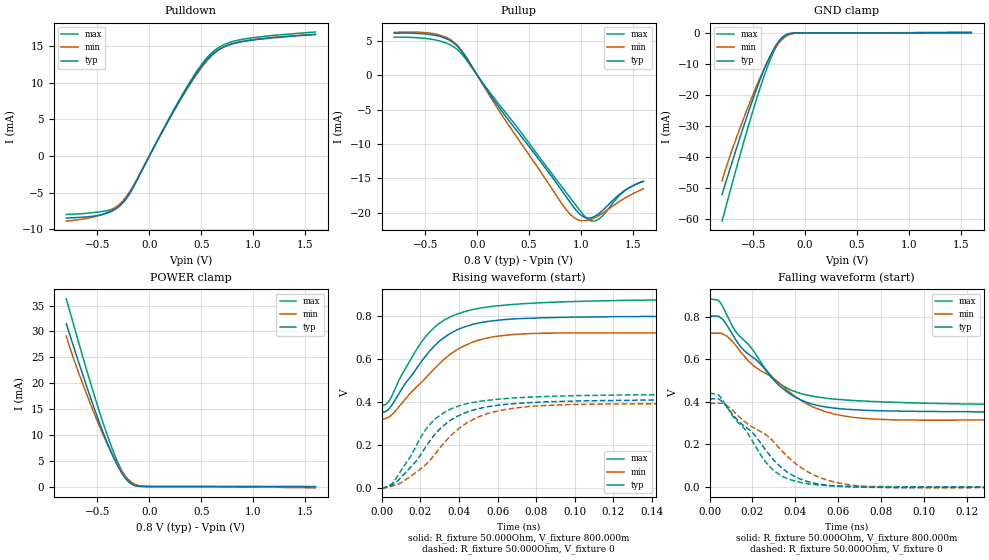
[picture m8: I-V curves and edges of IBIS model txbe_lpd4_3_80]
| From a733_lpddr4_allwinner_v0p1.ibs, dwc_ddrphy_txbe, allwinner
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[Model] txbe_lpd4_3_80
Model_type   I/O
Polarity   Non-Inverting
Enable   Active-High
C_comp   1.517pF   1.511pF   1.521pF
C_comp_pullup   267.973fF   267.453fF   273.210fF
C_comp_pulldown 1.185pF   1.184pF   1.186pF
Vinh = 427.000mV
Vinl = 307.000mV
Vmeas = 367.000mV
Vref = 367.000mV
Rref = 50Ohms
Cref = 0pF
[Model Spec]
Vinh   427.000mV   413.000mV   450.000mV
Vinl   307.000mV   293.000mV   330.000mV
Vmeas   367.000mV   353.000mV   390.000mV
Vref   367.000mV   353.000mV   390.000mV
D_overshoot_ampl_h 0.1 NA   NA
D_overshoot_ampl_l 0.1 NA   NA
D_overshoot_area_l 300.000m NA   NA
D_overshoot_area_h 300.000m NA   NA
[Receiver Thresholds]
Vth = 183.000mV
Vth_min = 177.000mV
Vth_max = 195.000mV
Vinh_ac = 60.000mV
Vinh_dc = 60.000mV
Vinl_ac = -60.000mV
Vinl_dc = -60.000mV
Tslew_ac = 5.000ns
Threshold_sensitivity = 0.5
Reference_supply Pullup_ref
[Temperature Range]   25.000   125.000   -40.000
[Voltage Range]   800.000mV   720.000mV   880.000mV
[GND Clamp Reference]   0.00V   0.00V   0.00V
[C Comp Corner]
| variable   typ   min   max
C_comp 1.517pF   1.521pF   1.511pF
C_comp_pullup 273.210fF   267.453fF   267.973fF
C_comp_pulldown 1.184pF   1.186pF   1.185pF
[Pulldown Reference]   0.00V   0.00V   0.00V
[POWER Clamp Reference]   800.000mV   720.000mV   880.000mV
[Pullup Reference]   800.000mV   720.000mV   880.000mV
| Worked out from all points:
|   slope of the pulldown table from 0 to 0.12 V, typ, clamps not added: 37.4 ohm
|   slope of the pullup table from 0 to 0.12 V, typ, clamps not added: 43.6 ohm
|   GND clamp passes 1 mA (typ) near -0.20 V on its own axis
|   POWER clamp passes 1 mA (typ) near -0.20 V on its own axis
|   rising waveform, R_fixture 50.000Ohm, V_fixture 800.000m: 20-80 % time 25ps typ, 27.6ps min, 24.3ps max; typ from 0.349 V to 0.8 V
|   rising waveform, R_fixture 50.000Ohm, V_fixture 0: 20-80 % time 24.9ps typ, 27.7ps min, 21.7ps max; typ from -0.001 V to 0.411 V
|   falling waveform, R_fixture 50.000Ohm, V_fixture 800.000m: 20-80 % time 26ps typ, 30ps min, 23.8ps max; typ from 0.802 V to 0.351 V
|   falling waveform, R_fixture 50.000Ohm, V_fixture 0: 20-80 % time 23.1ps typ, 29.1ps min, 19.4ps max; typ from 0.414 V to 0 V
[GND Clamp]
-800mV    -51.97mA   -47.59mA   -60.56mA
-750mV    -46.53mA   -42.17mA   -54.31mA
-650mV    -35.96mA   -32.65mA   -42.07mA
-520mV    -22.93mA   -21.28mA   -26.92mA
-430mV    -14.68mA   -14.07mA   -17.28mA
-350mV    -8.284mA   -8.447mA   -9.75mA
-300mV    -4.999mA   -5.486mA   -5.833mA
-250mV    -2.487mA   -3.115mA   -2.813mA
-200mV    -923uA     -1.462mA   -941.9uA
-130mV    -128.7uA   -336.7uA   -89.62uA
-30mV     -2.328uA   -11.39uA   -879.2nA
1.6V      41.38uA    274.9uA    15.53uA
[Power Clamp]
-800mV    31.5mA     29.07mA    36.28mA
-720mV    26.44mA    24.19mA    30.6mA
-620mV    20.34mA    18.7mA     23.64mA
-500mV    13.4mA     12.6mA     15.68mA
-400mV    8.171mA    7.988mA    9.63mA
-320mV    4.573mA    4.782mA    5.426mA
-270mV    2.735mA    3.099mA    3.246mA
-220mV    1.34mA     1.751mA    1.562mA
-180mV    609.8uA    962.5uA    671.8uA
-130mV    163.3uA    360.3uA    148.8uA
-30mV     3.458uA    13.99uA    1.941uA
1.6V      -31.74uA   -255.1uA   -8.592uA
[Pulldown]
-800mV    -8.45mA    -8.86mA    -7.97mA
-450mV    -7.97mA    -7.95mA    -7.55mA
-330mV    -7.284mA   -7.058mA   -7.082mA
-250mV    -6.287mA   -6.01mA    -6.274mA
-160mV    -4.342mA   -4.185mA   -4.409mA
160mV     4.253mA    4.181mA    4.323mA
390mV     9.867mA    9.701mA    10.06mA
530mV     12.7mA     12.53mA    12.96mA
660mV     14.42mA    14.35mA    14.7mA
780mV     15.19mA    15.2mA     15.49mA
930mV     15.65mA    15.7mA     15.97mA
1.6V      16.54mA    16.57mA    16.88mA
[Pullup]
-800mV    6.11mA     6.22mA     5.53mA
-400mV    5.778mA    5.983mA    5.121mA
-200mV    4.335mA    4.47mA     3.835mA
-100mV    2.367mA    2.515mA    2.124mA
220mV     -4.895mA   -5.399mA   -4.442mA
800mV     -16.48mA   -18.39mA   -15.94mA
930mV     -19.23mA   -20.7mA    -18.53mA
1.03V     -20.66mA   -21.19mA   -20.45mA
1.13V     -20.55mA   -20.76mA   -21.22mA
1.2V      -19.78mA   -20.15mA   -20.58mA
1.42V     -16.78mA   -17.9mA    -16.83mA
1.6V      -15.44mA   -16.53mA   -15.44mA
[Ramp]
R_load=50.000Ohm
dV/dt_r   258.265mV/26.000ps  237.950mV/29.000ps  279.887mV/24.000ps
dV/dt_f   258.264mV/25.500ps  237.950mV/30.500ps  279.890mV/22.500ps
[Rising waveform]
R_fixture=50.000Ohm
V_fixture=800.000m
V_fixture_min=720.000m
V_fixture_max=880.000m
0s        349mV      317mV      381mV
4ps       370mV      331mV      407mV
10ps      455mV      389mV      520mV
16ps      529mV      451mV      614mV
25ps      638mV      533mV      727mV
35ps      716mV      618mV      794mV
48ps      763mV      681mV      832mV
59ps      779mV      705mV      847mV
83ps      792mV      720mV      862mV
277ps     800mV      720mV      880mV
[Rising waveform]
R_fixture=50.000Ohm
V_fixture=0
0s        -1.016mV   -313.7uV   -1.032mV
6ps       15.32mV    8.55mV     25.01mV
17ps      115mV      66.07mV    180mV
22ps      179mV      101mV      261mV
27ps      243mV      149mV      314mV
37ps      321mV      253mV      371mV
47ps      361mV      316mV      397mV
65ps      389mV      366mV      416mV
92ps      402mV      386mV      427mV
278ps     411mV      392mV      437mV
[Falling waveform]
R_fixture=50.000Ohm
V_fixture=800.000m
V_fixture_min=720.000m
V_fixture_max=880.000m
0s        802mV      722mV      883mV
6ps       787mV      719mV      849mV
12ps      694mV      667mV      732mV
20ps      610mV      574mV      646mV
30ps      502mV      509mV      509mV
37ps      440mV      448mV      460mV
48ps      389mV      377mV      426mV
63ps      366mV      333mV      409mV
84ps      357mV      316mV      399mV
281ps     351mV      318mV      384mV
[Falling waveform]
R_fixture=50.000Ohm
V_fixture=0
0s        414mV      393mV      441mV
4ps       414mV      393mV      434mV
6ps       400mV      393mV      409mV
20ps      256mV      282mV      215mV
29ps      138mV      222mV      87.15mV
36ps      72.2mV     147mV      41.47mV
46ps      25.41mV    70.47mV    15.35mV
60ps      3.956mV    19.91mV    5.073mV
82ps      -1.459mV   -1.565mV   2.099mV
281ps     106.2uV    712.1uV    10.25uV
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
